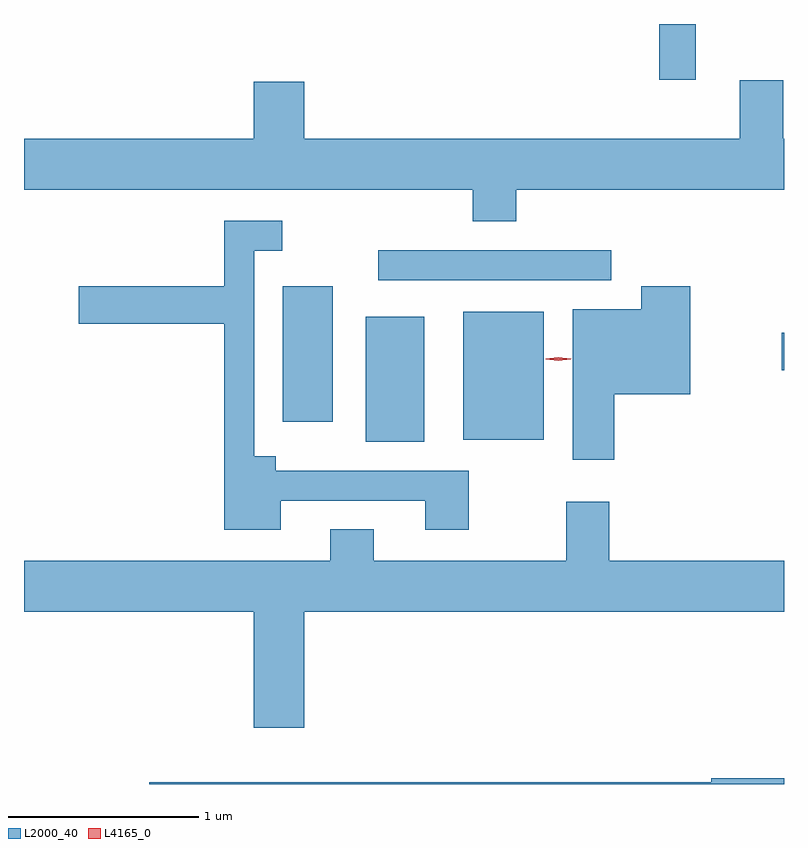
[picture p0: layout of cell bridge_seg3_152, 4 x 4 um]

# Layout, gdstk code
import gdstk
lib = gdstk.Library(unit=1e-6, precision=1e-09)
def R(c, l, rs):  # rectangles x0, y0, x1, y1
    for r in rs: c.add(gdstk.rectangle(r[:2], r[2:], *l))
def P(c, l, *ps):  # polygons
    for p in ps: c.add(gdstk.Polygon(p, *l))
L2000_40 = (2000, 40)
L4165_0 = (4165, 0)

bridge_seg3_152 = lib.new_cell('bridge_seg3_152')
R(bridge_seg3_152, L2000_40, [(775.106,1235.691,775.414,1236.349), (775.621,1235.701,776.044,1236.374), (774.671,1235.796,774.934,1236.509), (777.296,1236.066,777.308,1236.264), (775.173,1236.541,776.398,1236.699), (776.651,1237.596,776.844,1237.889)])
P(bridge_seg3_152, L2000_40, [(775.899,1237.016),(777.308,1237.016),(777.308,1237.284),(777.304,1237.284),(777.304,1237.594),(777.076,1237.594),(777.076,1237.284),(774.784,1237.284),(774.784,1237.584),(774.516,1237.584),(774.516,1237.284),(773.308,1237.284),(773.308,1237.016),(775.671,1237.016),(775.671,1236.851),(775.899,1236.851)],
  [(774.659,1235.381),(775.421,1235.381),(775.421,1235.226),(775.649,1235.226),(775.649,1235.539),(774.634,1235.539),(774.634,1235.614),(774.519,1235.614),(774.519,1236.696),(774.668,1236.696),(774.668,1236.854),(774.361,1236.854),(774.361,1236.509),(773.596,1236.509),(773.596,1236.311),(774.361,1236.311),(774.361,1235.226),(774.659,1235.226)],
  [(776.414,1235.941),(776.814,1235.941),(776.814,1236.509),(776.556,1236.509),(776.556,1236.389),(776.196,1236.389),(776.196,1235.596),(776.414,1235.596)],
  [(774.784,1234.796),(777.308,1234.796),(777.308,1235.064),(776.389,1235.064),(776.389,1235.374),(776.161,1235.374),(776.161,1235.064),(775.149,1235.064),(775.149,1235.229),(774.921,1235.229),(774.921,1235.064),(773.308,1235.064),(773.308,1234.796),(774.516,1234.796),(774.516,1234.186),(774.784,1234.186)],
  [(777.308,1233.919),(776.926,1233.919),(776.926,1233.899),(773.966,1233.899),(773.966,1233.889),(777.308,1233.889)])
P(bridge_seg3_152, L4165_0, [(776.12,1236.116),(776.054,1236.125),(776.053,1236.126),(776.054,1236.126),(776.12,1236.136),(776.186,1236.126),(776.187,1236.126),(776.186,1236.125)])

lib.write_gds('bridge_seg3_152.gds')
